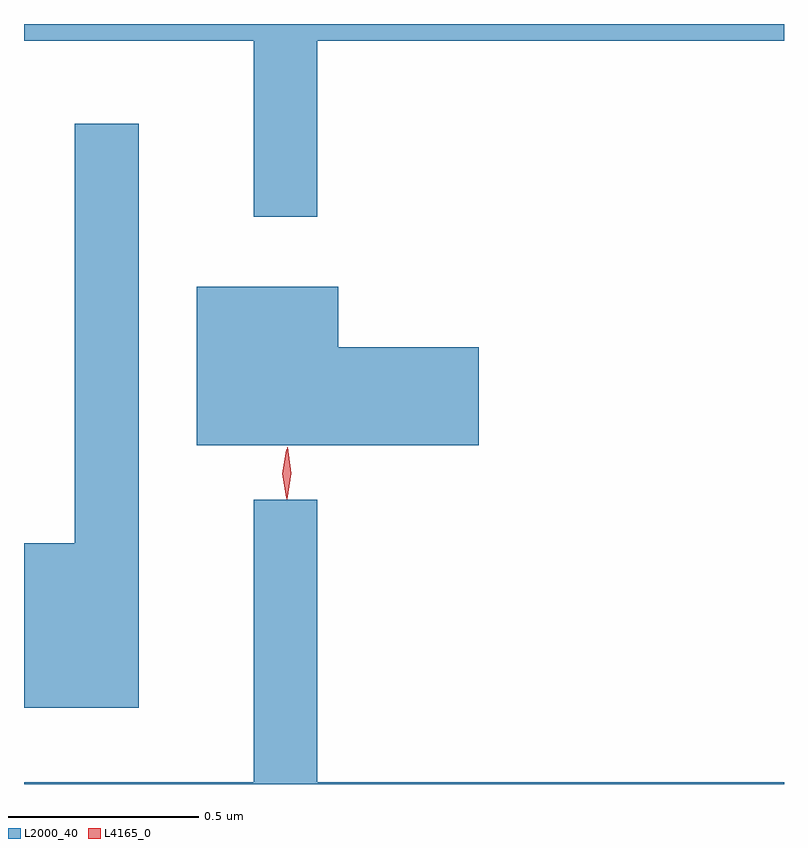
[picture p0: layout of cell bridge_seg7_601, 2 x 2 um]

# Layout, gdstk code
import gdstk
lib = gdstk.Library(unit=1e-6, precision=1e-09)
def P(c, l, *ps):  # polygons
    for p in ps: c.add(gdstk.Polygon(p, *l))
L2000_40 = (2000, 40)
L4165_0 = (4165, 0)

bridge_seg7_601 = lib.new_cell('bridge_seg7_601')
P(bridge_seg7_601, L2000_40, [(789.309,1800.896),(790.537,1800.896),(790.537,1800.94),(788.537,1800.94),(788.537,1800.896),(789.141,1800.896),(789.141,1800.433),(789.309,1800.433)],
  [(788.839,1800.678),(788.671,1800.678),(788.671,1799.574),(788.537,1799.574),(788.537,1799.141),(788.839,1799.141)],
  [(789.734,1800.089),(789.364,1800.089),(789.364,1800.249),(788.991,1800.249),(788.991,1799.831),(789.734,1799.831)],
  [(790.537,1798.944),(789.309,1798.944),(789.309,1799.688),(789.141,1799.688),(789.141,1798.944),(788.537,1798.944),(788.537,1798.94),(790.537,1798.94)])
P(bridge_seg7_601, L4165_0, [(789.227,1799.693),(789.227,1799.693),(789.217,1799.756),(789.227,1799.819),(789.227,1799.82),(789.228,1799.819),(789.237,1799.756),(789.228,1799.693)],
  [(789.229,1799.69),(789.229,1799.69),(789.22,1799.758),(789.23,1799.826),(789.231,1799.826),(789.231,1799.826),(789.24,1799.758),(789.23,1799.69)])

lib.write_gds('bridge_seg7_601.gds')
